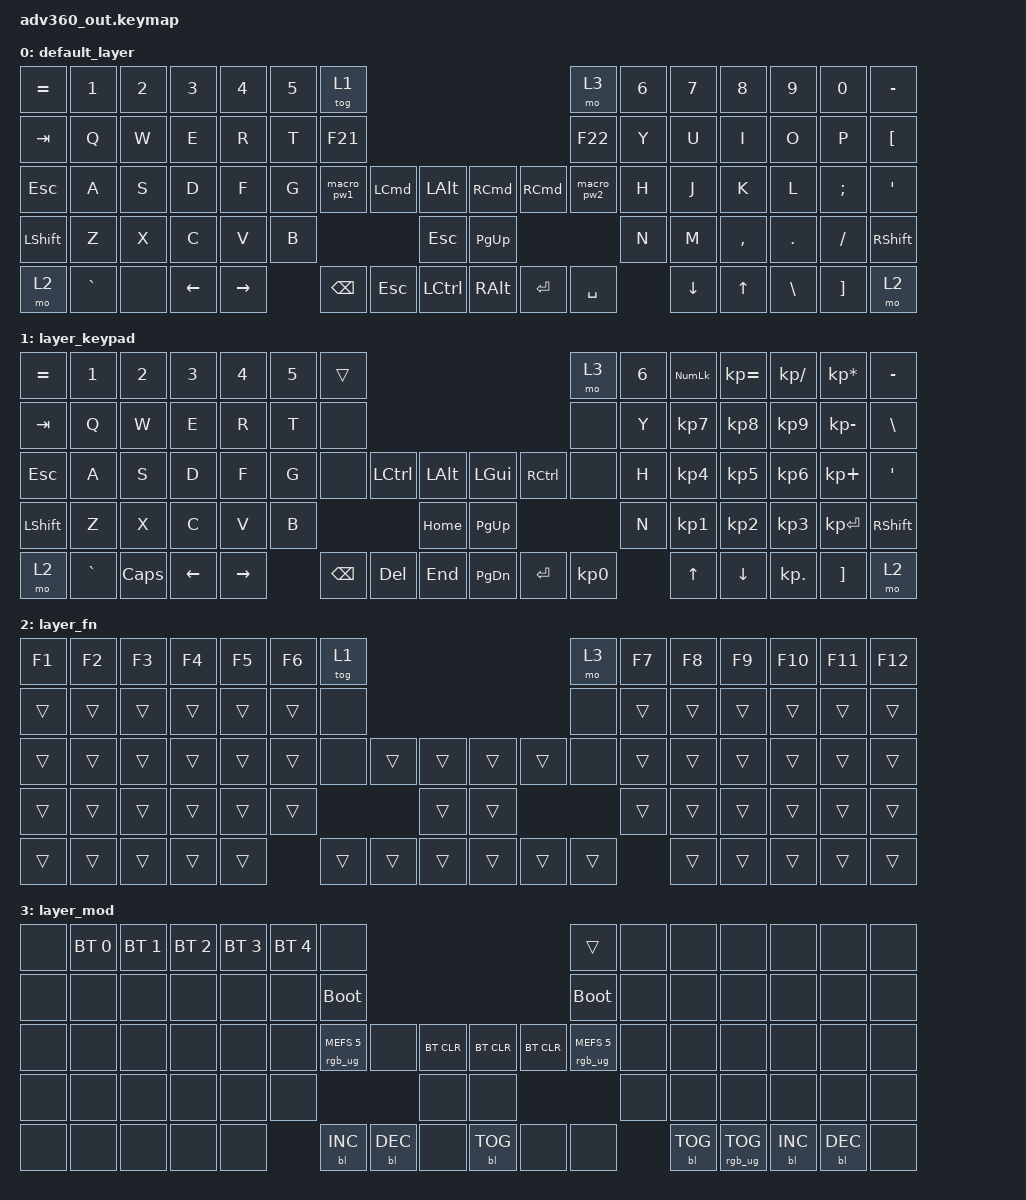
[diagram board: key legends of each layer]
/*
 * Copyright (c) 2020 The ZMK Contributors
 *
 * SPDX-License-Identifier: MIT
 */


/* THIS FILE WAS GENERATED!
 *
 * This file was generated automatically. You may or may not want to
 * edit it directly.
 */

#include <behaviors.dtsi>
#include <dt-bindings/zmk/keys.h>
#include <dt-bindings/zmk/bt.h>
#include <dt-bindings/zmk/rgb.h>
#include <dt-bindings/zmk/backlight.h>

/ {
  behaviors {
    #include "macros.dtsi"

    hm: homerow_mods {
        compatible = "zmk,behavior-hold-tap";
        label = "HOMEROW_MODS";
        #binding-cells = <2>;
        tapping-term-ms = <200>;
        quick_tap_ms = <175>;
        flavor = "tap-preferred";
        bindings = <&kp>, <&kp>;
    };
  };

    keymap {
        compatible = "zmk,keymap";


        default_layer {
            bindings = <
//    ┌───────────┬───────────┬────────┬──────────┬───────────┬────────┬────────────┐                                                                               ┌────────────┬────────┬──────────┬───────────┬──────────┬──────────┬───────────┐
//    │ &kp EQUAL │  &kp N1   │ &kp N2 │  &kp N3  │  &kp N4   │ &kp N5 │   &tog 1   │                                                                               │   &mo 3    │ &kp N6 │  &kp N7  │  &kp N8   │  &kp N9  │  &kp N0  │ &kp MINUS │
//    ├───────────┼───────────┼────────┼──────────┼───────────┼────────┼────────────┤                                                                               ├────────────┼────────┼──────────┼───────────┼──────────┼──────────┼───────────┤
//    │  &kp TAB  │   &kp Q   │ &kp W  │  &kp E   │   &kp R   │ &kp T  │  &kp F21   │                                                                               │  &kp F22   │ &kp Y  │  &kp U   │   &kp I   │  &kp O   │  &kp P   │ &kp LBKT  │
//    ├───────────┼───────────┼────────┼──────────┼───────────┼────────┼────────────┼──────────────────┬────────────┐       ┌───────────────────┬───────────────────┼────────────┼────────┼──────────┼───────────┼──────────┼──────────┼───────────┤
//    │  &kp ESC  │   &kp A   │ &kp S  │  &kp D   │   &kp F   │ &kp G  │ &macro_pw1 │ &kp LEFT_COMMAND │  &kp LALT  │       │ &kp RIGHT_COMMAND │ &kp RIGHT_COMMAND │ &macro_pw2 │ &kp H  │  &kp J   │   &kp K   │  &kp L   │ &kp SEMI │  &kp SQT  │
//    ├───────────┼───────────┼────────┼──────────┼───────────┼────────┼────────────┴──────────────────┼────────────┤       ├───────────────────┼───────────────────┴────────────┼────────┼──────────┼───────────┼──────────┼──────────┼───────────┤
//    │ &kp LSHFT │   &kp Z   │ &kp X  │  &kp C   │   &kp V   │ &kp B  │                               │ &kp ESCAPE │       │     &kp PG_UP     │                                │ &kp N  │  &kp M   │ &kp COMMA │ &kp DOT  │ &kp FSLH │ &kp RSHFT │
//    ├───────────┼───────────┼────────┼──────────┼───────────┼────────┼────────────┬──────────────────┼────────────┤       ├───────────────────┼───────────────────┬────────────┼────────┼──────────┼───────────┼──────────┼──────────┼───────────┤
//    │   &mo 2   │ &kp GRAVE │ &none  │ &kp LEFT │ &kp RIGHT │        │  &kp BSPC  │    &kp ESCAPE    │ &kp LCTRL  │       │   &kp RIGHT_ALT   │     &kp ENTER     │ &kp SPACE  │        │ &kp DOWN │  &kp UP   │ &kp BSLH │ &kp RBKT │   &mo 2   │
//    └───────────┴───────────┴────────┴──────────┴───────────┘        └────────────┴──────────────────┴────────────┘       └───────────────────┴───────────────────┴────────────┘        └──────────┴───────────┴──────────┴──────────┴───────────┘
  &kp EQUAL   &kp N1      &kp N2   &kp N3     &kp N4      &kp N5   &tog 1                                                                                       &mo 3        &kp N6   &kp N7     &kp N8      &kp N9     &kp N0     &kp MINUS
  &kp TAB     &kp Q       &kp W    &kp E      &kp R       &kp T    &kp F21                                                                                      &kp F22      &kp Y    &kp U      &kp I       &kp O      &kp P      &kp LBKT 
  &kp ESC     &kp A       &kp S    &kp D      &kp F       &kp G    &macro_pw1   &kp LEFT_COMMAND   &kp LALT             &kp RIGHT_COMMAND   &kp RIGHT_COMMAND   &macro_pw2   &kp H    &kp J      &kp K       &kp L      &kp SEMI   &kp SQT  
  &kp LSHFT   &kp Z       &kp X    &kp C      &kp V       &kp B                                    &kp ESCAPE           &kp PG_UP                                            &kp N    &kp M      &kp COMMA   &kp DOT    &kp FSLH   &kp RSHFT
  &mo 2       &kp GRAVE   &none    &kp LEFT   &kp RIGHT            &kp BSPC     &kp ESCAPE         &kp LCTRL            &kp RIGHT_ALT       &kp ENTER           &kp SPACE             &kp DOWN   &kp UP      &kp BSLH   &kp RBKT   &mo 2    
            >;
        };

        layer_keypad {
            bindings = <
//    ┌───────────┬───────────┬──────────┬──────────┬───────────┬────────┬──────────┐                                                      ┌───────────┬────────┬────────────┬──────────────┬───────────────┬─────────────────┬───────────┐
//    │ &kp EQUAL │  &kp N1   │  &kp N2  │  &kp N3  │  &kp N4   │ &kp N5 │  &trans  │                                                      │   &mo 3   │ &kp N6 │ &kp KP_NUM │ &kp KP_EQUAL │ &kp KP_DIVIDE │ &kp KP_MULTIPLY │ &kp MINUS │
//    ├───────────┼───────────┼──────────┼──────────┼───────────┼────────┼──────────┤                                                      ├───────────┼────────┼────────────┼──────────────┼───────────────┼─────────────────┼───────────┤
//    │  &kp TAB  │   &kp Q   │  &kp W   │  &kp E   │   &kp R   │ &kp T  │  &none   │                                                      │   &none   │ &kp Y  │ &kp KP_N7  │  &kp KP_N8   │   &kp KP_N9   │  &kp KP_MINUS   │ &kp BSLH  │
//    ├───────────┼───────────┼──────────┼──────────┼───────────┼────────┼──────────┼───────────┬──────────┐       ┌───────────┬───────────┼───────────┼────────┼────────────┼──────────────┼───────────────┼─────────────────┼───────────┤
//    │  &kp ESC  │   &kp A   │  &kp S   │  &kp D   │   &kp F   │ &kp G  │  &none   │ &kp LCTRL │ &kp LALT │       │ &kp LGUI  │ &kp RCTRL │   &none   │ &kp H  │ &kp KP_N4  │  &kp KP_N5   │   &kp KP_N6   │   &kp KP_PLUS   │  &kp SQT  │
//    ├───────────┼───────────┼──────────┼──────────┼───────────┼────────┼──────────┴───────────┼──────────┤       ├───────────┼───────────┴───────────┼────────┼────────────┼──────────────┼───────────────┼─────────────────┼───────────┤
//    │ &kp LSHFT │   &kp Z   │  &kp X   │  &kp C   │   &kp V   │ &kp B  │                      │ &kp HOME │       │ &kp PG_UP │                       │ &kp N  │ &kp KP_N1  │  &kp KP_N2   │   &kp KP_N3   │  &kp KP_ENTER   │ &kp RSHFT │
//    ├───────────┼───────────┼──────────┼──────────┼───────────┼────────┼──────────┬───────────┼──────────┤       ├───────────┼───────────┬───────────┼────────┼────────────┼──────────────┼───────────────┼─────────────────┼───────────┤
//    │   &mo 2   │ &kp GRAVE │ &kp CAPS │ &kp LEFT │ &kp RIGHT │        │ &kp BSPC │  &kp DEL  │ &kp END  │       │ &kp PG_DN │ &kp ENTER │ &kp KP_N0 │        │   &kp UP   │   &kp DOWN   │  &kp KP_DOT   │    &kp RBKT     │   &mo 2   │
//    └───────────┴───────────┴──────────┴──────────┴───────────┘        └──────────┴───────────┴──────────┘       └───────────┴───────────┴───────────┘        └────────────┴──────────────┴───────────────┴─────────────────┴───────────┘
  &kp EQUAL   &kp N1      &kp N2     &kp N3     &kp N4      &kp N5   &trans                                                            &mo 3       &kp N6   &kp KP_NUM   &kp KP_EQUAL   &kp KP_DIVIDE   &kp KP_MULTIPLY   &kp MINUS
  &kp TAB     &kp Q       &kp W      &kp E      &kp R       &kp T    &none                                                             &none       &kp Y    &kp KP_N7    &kp KP_N8      &kp KP_N9       &kp KP_MINUS      &kp BSLH 
  &kp ESC     &kp A       &kp S      &kp D      &kp F       &kp G    &none      &kp LCTRL   &kp LALT           &kp LGUI    &kp RCTRL   &none       &kp H    &kp KP_N4    &kp KP_N5      &kp KP_N6       &kp KP_PLUS       &kp SQT  
  &kp LSHFT   &kp Z       &kp X      &kp C      &kp V       &kp B                           &kp HOME           &kp PG_UP                           &kp N    &kp KP_N1    &kp KP_N2      &kp KP_N3       &kp KP_ENTER      &kp RSHFT
  &mo 2       &kp GRAVE   &kp CAPS   &kp LEFT   &kp RIGHT            &kp BSPC   &kp DEL     &kp END            &kp PG_DN   &kp ENTER   &kp KP_N0            &kp UP       &kp DOWN       &kp KP_DOT      &kp RBKT          &mo 2    
            >;
        };

        layer_fn {
            bindings = <
//    ┌────────┬────────┬────────┬────────┬────────┬────────┬────────┐                                           ┌────────┬────────┬────────┬────────┬─────────┬─────────┬─────────┐
//    │ &kp F1 │ &kp F2 │ &kp F3 │ &kp F4 │ &kp F5 │ &kp F6 │ &tog 1 │                                           │ &mo 3  │ &kp F7 │ &kp F8 │ &kp F9 │ &kp F10 │ &kp F11 │ &kp F12 │
//    ├────────┼────────┼────────┼────────┼────────┼────────┼────────┤                                           ├────────┼────────┼────────┼────────┼─────────┼─────────┼─────────┤
//    │ &trans │ &trans │ &trans │ &trans │ &trans │ &trans │ &none  │                                           │ &none  │ &trans │ &trans │ &trans │ &trans  │ &trans  │ &trans  │
//    ├────────┼────────┼────────┼────────┼────────┼────────┼────────┼────────┬────────┐       ┌────────┬────────┼────────┼────────┼────────┼────────┼─────────┼─────────┼─────────┤
//    │ &trans │ &trans │ &trans │ &trans │ &trans │ &trans │ &none  │ &trans │ &trans │       │ &trans │ &trans │ &none  │ &trans │ &trans │ &trans │ &trans  │ &trans  │ &trans  │
//    ├────────┼────────┼────────┼────────┼────────┼────────┼────────┴────────┼────────┤       ├────────┼────────┴────────┼────────┼────────┼────────┼─────────┼─────────┼─────────┤
//    │ &trans │ &trans │ &trans │ &trans │ &trans │ &trans │                 │ &trans │       │ &trans │                 │ &trans │ &trans │ &trans │ &trans  │ &trans  │ &trans  │
//    ├────────┼────────┼────────┼────────┼────────┼────────┼────────┬────────┼────────┤       ├────────┼────────┬────────┼────────┼────────┼────────┼─────────┼─────────┼─────────┤
//    │ &trans │ &trans │ &trans │ &trans │ &trans │        │ &trans │ &trans │ &trans │       │ &trans │ &trans │ &trans │        │ &trans │ &trans │ &trans  │ &trans  │ &trans  │
//    └────────┴────────┴────────┴────────┴────────┘        └────────┴────────┴────────┘       └────────┴────────┴────────┘        └────────┴────────┴─────────┴─────────┴─────────┘
  &kp F1   &kp F2   &kp F3   &kp F4   &kp F5   &kp F6   &tog 1                                               &mo 3    &kp F7   &kp F8   &kp F9   &kp F10   &kp F11   &kp F12
  &trans   &trans   &trans   &trans   &trans   &trans   &none                                                &none    &trans   &trans   &trans   &trans    &trans    &trans 
  &trans   &trans   &trans   &trans   &trans   &trans   &none    &trans   &trans           &trans   &trans   &none    &trans   &trans   &trans   &trans    &trans    &trans 
  &trans   &trans   &trans   &trans   &trans   &trans                     &trans           &trans                     &trans   &trans   &trans   &trans    &trans    &trans 
  &trans   &trans   &trans   &trans   &trans            &trans   &trans   &trans           &trans   &trans   &trans            &trans   &trans   &trans    &trans    &trans 
            >;
        };

        layer_mod {
            bindings = <
//    ┌───────┬──────────────┬──────────────┬──────────────┬──────────────┬──────────────┬────────────────────────┐                                                           ┌────────────────────────┬───────┬────────────┬─────────────────┬────────────┬────────────┬───────┐
//    │ &none │ &bt BT_SEL 0 │ &bt BT_SEL 1 │ &bt BT_SEL 2 │ &bt BT_SEL 3 │ &bt BT_SEL 4 │         &none          │                                                           │         &trans         │ &none │   &none    │      &none      │   &none    │   &none    │ &none │
//    ├───────┼──────────────┼──────────────┼──────────────┼──────────────┼──────────────┼────────────────────────┤                                                           ├────────────────────────┼───────┼────────────┼─────────────────┼────────────┼────────────┼───────┤
//    │ &none │    &none     │    &none     │    &none     │    &none     │    &none     │      &bootloader       │                                                           │      &bootloader       │ &none │   &none    │      &none      │   &none    │   &none    │ &none │
//    ├───────┼──────────────┼──────────────┼──────────────┼──────────────┼──────────────┼────────────────────────┼────────────┬────────────┐       ┌────────────┬────────────┼────────────────────────┼───────┼────────────┼─────────────────┼────────────┼────────────┼───────┤
//    │ &none │    &none     │    &none     │    &none     │    &none     │    &none     │ &rgb_ug RGB_MEFS_CMD 5 │   &none    │ &bt BT_CLR │       │ &bt BT_CLR │ &bt BT_CLR │ &rgb_ug RGB_MEFS_CMD 5 │ &none │   &none    │      &none      │   &none    │   &none    │ &none │
//    ├───────┼──────────────┼──────────────┼──────────────┼──────────────┼──────────────┼────────────────────────┴────────────┼────────────┤       ├────────────┼────────────┴────────────────────────┼───────┼────────────┼─────────────────┼────────────┼────────────┼───────┤
//    │ &none │    &none     │    &none     │    &none     │    &none     │    &none     │                                     │   &none    │       │   &none    │                                     │ &none │   &none    │      &none      │   &none    │   &none    │ &none │
//    ├───────┼──────────────┼──────────────┼──────────────┼──────────────┼──────────────┼────────────────────────┬────────────┼────────────┤       ├────────────┼────────────┬────────────────────────┼───────┼────────────┼─────────────────┼────────────┼────────────┼───────┤
//    │ &none │    &none     │    &none     │    &none     │    &none     │              │       &bl BL_INC       │ &bl BL_DEC │   &none    │       │ &bl BL_TOG │   &none    │         &none          │       │ &bl BL_TOG │ &rgb_ug RGB_TOG │ &bl BL_INC │ &bl BL_DEC │ &none │
//    └───────┴──────────────┴──────────────┴──────────────┴──────────────┘              └────────────────────────┴────────────┴────────────┘       └────────────┴────────────┴────────────────────────┘       └────────────┴─────────────────┴────────────┴────────────┴───────┘
  &none   &bt BT_SEL 0   &bt BT_SEL 1   &bt BT_SEL 2   &bt BT_SEL 3   &bt BT_SEL 4   &none                                                                                &trans                   &none   &none        &none             &none        &none        &none
  &none   &none          &none          &none          &none          &none          &bootloader                                                                          &bootloader              &none   &none        &none             &none        &none        &none
  &none   &none          &none          &none          &none          &none          &rgb_ug RGB_MEFS_CMD 5   &none        &bt BT_CLR           &bt BT_CLR   &bt BT_CLR   &rgb_ug RGB_MEFS_CMD 5   &none   &none        &none             &none        &none        &none
  &none   &none          &none          &none          &none          &none                                                &none                &none                                              &none   &none        &none             &none        &none        &none
  &none   &none          &none          &none          &none                         &bl BL_INC               &bl BL_DEC   &none                &bl BL_TOG   &none        &none                            &bl BL_TOG   &rgb_ug RGB_TOG   &bl BL_INC   &bl BL_DEC   &none
            >;
        };

    };
};
